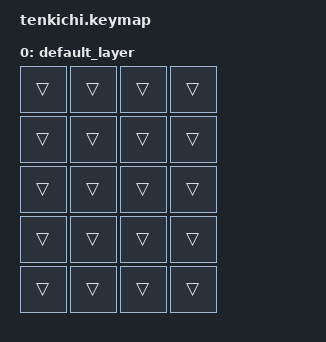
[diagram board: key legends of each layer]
/*
 * Copyright (c) 2021 The ZMK Contributors
 *
 * SPDX-License-Identifier: MIT
 */

#include <behaviors.dtsi>
#include <dt-bindings/zmk/bt.h>
#include <dt-bindings/zmk/keys.h>


/ {
 
    keymap {
        compatible = "zmk,keymap";

        default_layer {
            bindings = <
	&trans    &trans    &trans    &trans    
	&trans    &trans    &trans    &trans
	&trans    &trans    &trans    &trans
	&trans    &trans    &trans    &trans  
	&trans    &trans    &trans    &trans 
            >;
        };

    };
};
